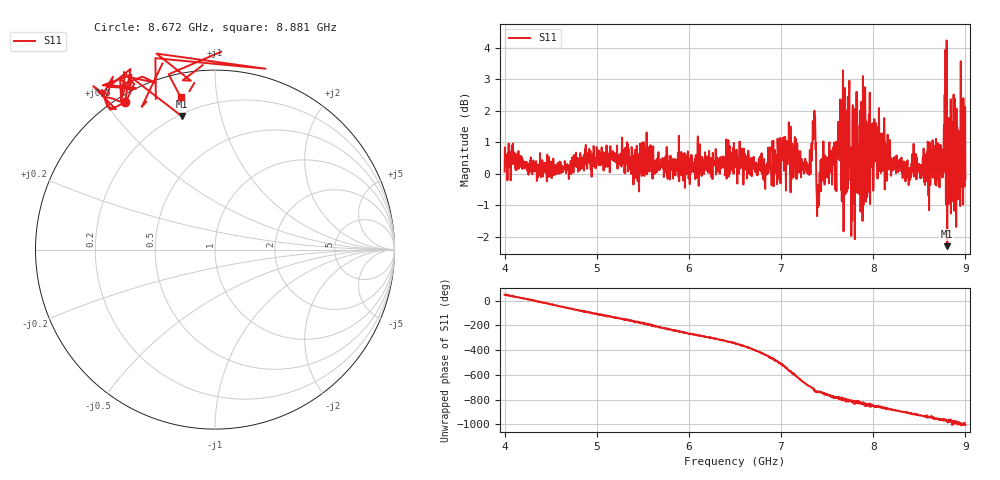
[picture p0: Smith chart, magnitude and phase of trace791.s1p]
! Created with skrf 1.8.0 (http://scikit-rf.org).
# Hz S RI R 50.0
!freq ReS11 ImS11
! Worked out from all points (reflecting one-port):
!   1601 points, 4 GHz to 9 GHz, reference 50 ohm
!   lowest |S11| = -2.3 dB at 8.803 GHz (marker M1), VSWR 7.58, Z = 10.5 + j38 ohm
!   phase of S11 starts at 49 deg and turns -1053 deg over the sweep
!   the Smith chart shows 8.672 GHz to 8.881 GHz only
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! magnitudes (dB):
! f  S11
! 4 GHz  0.1
! 4.625 GHz  0.1
! 5.25 GHz  0.3
! 5.875 GHz  0.1
! 6.5 GHz  0.6
! 6.819 GHz  -0.2
! 7.081 GHz  0.5
! 7.125 GHz  0.2
! 7.294 GHz  0.0
! 7.353 GHz  1.2
! 7.409 GHz  -1.0
! 7.441 GHz  0.5
! 7.575 GHz  1.0
! 7.65 GHz  0.9
! 7.75 GHz  0.5
! 7.775 GHz  1.7
! 7.8 GHz  -2.1
! 7.859 GHz  2.0
! 7.891 GHz  0.6
! 7.944 GHz  1.5
! 8.038 GHz  0.9
! 8.375 GHz  0.1
! 8.731 GHz  0.6
! 8.775 GHz  2.5
! 8.803 GHz  -2.3
! 8.919 GHz  -0.1
! 8.972 GHz  1.1
! 9 GHz  -0.2
